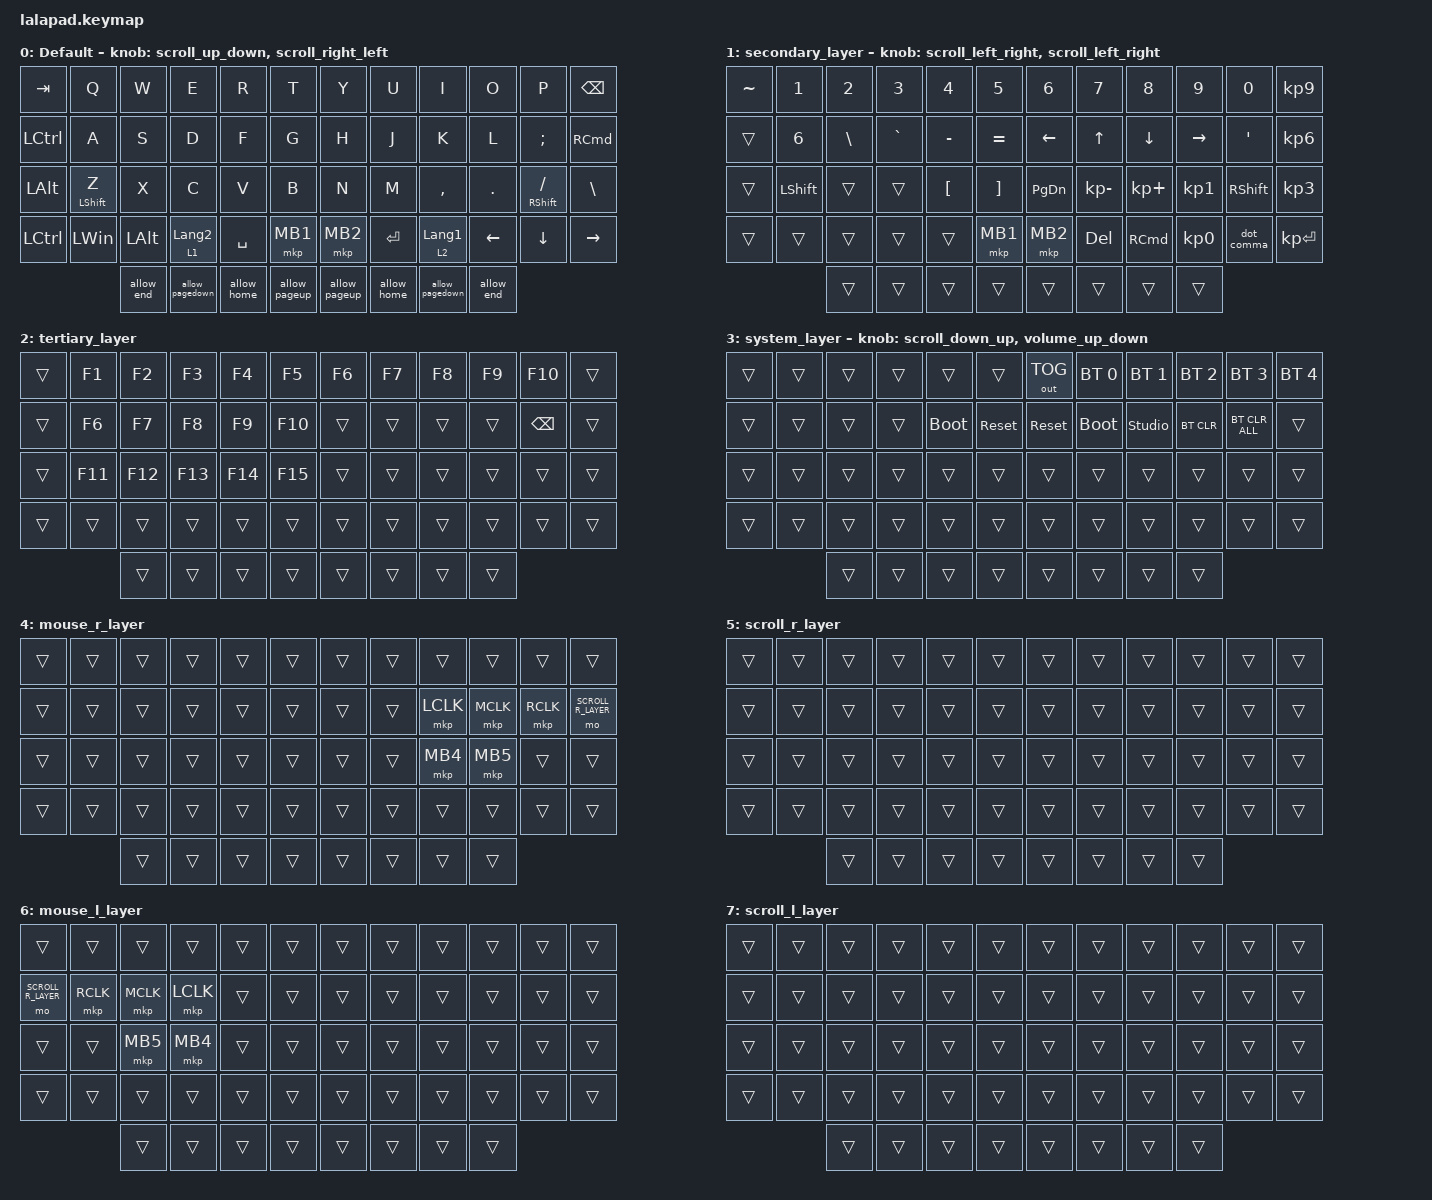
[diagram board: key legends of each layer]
#include <input/processors.dtsi>
#include <behaviors.dtsi>
#include <dt-bindings/zmk/bt.h>
#include <dt-bindings/zmk/keys.h>
#include <dt-bindings/zmk/outputs.h>
#include <dt-bindings/zmk/pointing.h>

#define DEFAULT_LAYER   0
#define SECONDARY_LAYER 1
#define TERTIARY_LAYER  2
#define SYSTEM_LAYER    3
#define MOUSE_R_LAYER   4
#define SCROLL_R_LAYER  5
#define MOUSE_L_LAYER   6
#define SCROLL_L_LAYER  7

// Mouse Scroll Value

#define ZMK_POINTING_DEFAULT_SCRL_VAL 100

// cirque trackpad input&layer control

&glidepoint_listener_R {
    input-processors =
        <&zip_xy_transform (INPUT_TRANSFORM_XY_SWAP | INPUT_TRANSFORM_X_INVERT | INPUT_TRANSFORM_Y_INVERT)>,
        <&zip_xy_scaler 5 2>,
        <&zip_temp_layer MOUSE_R_LAYER 500>;

    lowspeedmode {
        layers = <SECONDARY_LAYER>;
        input-processors =
            <&zip_xy_transform (INPUT_TRANSFORM_XY_SWAP | INPUT_TRANSFORM_X_INVERT | INPUT_TRANSFORM_Y_INVERT)>,
            <&zip_xy_scaler 5 5>,
            <&zip_temp_layer MOUSE_R_LAYER 500>;
    };

    scroller {
        layers = <SCROLL_R_LAYER>;
        input-processors =
            <&zip_xy_to_scroll_mapper>,
            <&zip_scroll_transform (INPUT_TRANSFORM_XY_SWAP | INPUT_TRANSFORM_Y_INVERT)>,
            <&zip_scroll_scaler 1 8>;
    };
};

&glidepoint_listener_L {
    input-processors =
        <&zip_xy_transform (INPUT_TRANSFORM_XY_SWAP | INPUT_TRANSFORM_X_INVERT | INPUT_TRANSFORM_Y_INVERT)>,
        <&zip_xy_scaler 3 2>,
        <&zip_temp_layer MOUSE_L_LAYER 500>;

    lowspeedmode {
        layers = <SECONDARY_LAYER>;
        input-processors =
            <&zip_xy_transform (INPUT_TRANSFORM_XY_SWAP | INPUT_TRANSFORM_X_INVERT | INPUT_TRANSFORM_Y_INVERT)>,
            <&zip_xy_scaler 3 4>,
            <&zip_temp_layer MOUSE_L_LAYER 500>;
    };

    scroller {
        layers = <SCROLL_L_LAYER>;
        input-processors =
            <&zip_xy_to_scroll_mapper>,
            <&zip_scroll_transform (INPUT_TRANSFORM_XY_SWAP | INPUT_TRANSFORM_Y_INVERT)>,
            <&zip_scroll_scaler 1 6>;
    };
};

/ {
    behaviors {
        // Encoder to Mouse Scroll

        scroll_up_down: sensor_scroll_up_down {
            compatible = "zmk,behavior-sensor-rotate";
            #sensor-binding-cells = <0>;
            bindings = <&msc SCRL_UP>, <&msc SCRL_DOWN>;

            tap-ms = <20>;
            label = "SCROLL_UP_DOWN";
        };

        scroll_down_up: sensor_scroll_down_up {
            compatible = "zmk,behavior-sensor-rotate";
            #sensor-binding-cells = <0>;
            bindings = <&msc SCRL_DOWN>, <&msc SCRL_UP>;

            tap-ms = <20>;
            label = "SCROLL_DOWN_UP";
        };

        scroll_left_right: sensor_scroll_left_right {
            compatible = "zmk,behavior-sensor-rotate";
            #sensor-binding-cells = <0>;
            bindings = <&msc SCRL_LEFT>, <&msc SCRL_RIGHT>;

            tap-ms = <20>;
            label = "SCROLL_LEFT_RIGHT";
        };

        scroll_right_left: sensor_scroll_right_left {
            compatible = "zmk,behavior-sensor-rotate";
            #sensor-binding-cells = <0>;
            bindings = <&msc SCRL_RIGHT>, <&msc SCRL_LEFT>;

            tap-ms = <20>;
            label = "SCROLL_RIGHT_LEFT";
        };

        volume_up_down: sensor_volume_up_down {
            compatible = "zmk,behavior-sensor-rotate";
            #sensor-binding-cells = <0>;
            bindings = <&kp C_VOLUME_UP>, <&kp C_VOLUME_DOWN>;

            tap-ms = <20>;
            label = "VOLUME_UP_DOWN";
        };

        dot_comma: dot_comma {
            compatible = "zmk,behavior-mod-morph";
            #binding-cells = <0>;
            bindings = <&kp KP_DOT>, <&kp COMMA>;

            mods = <(MOD_LSFT|MOD_RSFT)>;
            label = "DOT_COMMA";
        };

        pls_minus: pls_minus {
            compatible = "zmk,behavior-mod-morph";
            #binding-cells = <0>;
            bindings = <&kp PLUS>, <&kp MINUS>;

            mods = <(MOD_LSFT|MOD_RSFT)>;
            label = "PLS_MINUS";
        };

        allow_pageup: allow_pageup {
            compatible = "zmk,behavior-mod-morph";
            #binding-cells = <0>;
            bindings = <&kp UP>, <&kp PAGE_UP>;

            mods = <(MOD_LCTL|MOD_RCTL)>;
            label = "ALLOW_PAGEUP";
        };

        allow_pagedown: allow_pagedown {
            compatible = "zmk,behavior-mod-morph";
            #binding-cells = <0>;
            bindings = <&kp DOWN>, <&kp PAGE_DOWN>;

            mods = <(MOD_LCTL|MOD_RCTL)>;
            label = "ALLOW_PAGEDOWN";
        };

        allow_home: allow_home {
            compatible = "zmk,behavior-mod-morph";
            #binding-cells = <0>;
            bindings = <&kp LEFT>, <&kp HOME>;

            mods = <(MOD_LCTL|MOD_RCTL)>;
            label = "ALLOW_HOME";
        };

        allow_end: allow_end {
            compatible = "zmk,behavior-mod-morph";
            #binding-cells = <0>;
            bindings = <&kp RIGHT>, <&kp END>;

            mods = <(MOD_LCTL|MOD_RCTL)>;
            label = "ALLOW_END";
        };

        mt2: mod_tap2 {
            compatible = "zmk,behavior-hold-tap";
            #binding-cells = <2>;
            flavor = "tap-preferred";
            tapping-term-ms = <200>;
            quick-tap-ms = <200>;
            require-prior-idle-ms = <125>;
            bindings = <&kp>, <&kp>;
        };
    };

    keymap {
        compatible = "zmk,keymap";

        DEFAULT_LAYER {
            display-name = "Default";
            sensor-bindings = <&scroll_up_down>, <&scroll_right_left>;

            bindings = <
&kp TAB       &kp Q             &kp W         &kp E             &kp R        &kp T          &kp Y          &kp U        &kp I             &kp O       &kp P                  &kp BACKSPACE
&kp LCTRL     &kp A             &kp S         &kp D             &kp F        &kp G          &kp H          &kp J        &kp K             &kp L       &kp SEMI               &kp RIGHT_COMMAND
&kp LEFT_ALT  &mt LEFT_SHIFT Z  &kp X         &kp C             &kp V        &kp B          &kp N          &kp M        &kp COMMA         &kp PERIOD  &mt RIGHT_SHIFT SLASH  &kp BSLH
&kp LCTRL     &kp LEFT_WIN      &kp LEFT_ALT  &lt 1 LANGUAGE_2  &kp SPACE    &mkp MB1       &mkp MB2       &kp ENTER    &lt 2 LANGUAGE_1  &kp LEFT    &kp DOWN               &kp RIGHT
                                &allow_end    &allow_pagedown   &allow_home  &allow_pageup  &allow_pageup  &allow_home  &allow_pagedown   &allow_end
            >;
        };

        SECONDARY_LAYER {
            display-name = "secondary_layer";
            sensor-bindings = <&scroll_left_right>, <&scroll_left_right>;

            bindings = <
&kp TILDE  &kp NUMBER_1    &kp NUMBER_2   &kp NUMBER_3  &kp NUMBER_4      &kp NUMBER_5       &kp N6         &kp N7        &kp N8             &kp N9           &kp N0            &kp KP_NUMBER_9
&trans     &kp NUMBER_6    &kp BACKSLASH  &kp GRAVE     &kp MINUS         &kp EQUAL          &kp LEFT       &kp UP        &kp DOWN           &kp RIGHT        &kp SINGLE_QUOTE  &kp KP_NUMBER_6
&trans     &kp LEFT_SHIFT  &trans         &trans        &kp LEFT_BRACKET  &kp RIGHT_BRACKET  &kp PAGE_DOWN  &kp KP_MINUS  &kp KP_PLUS        &kp KP_NUMBER_1  &kp RIGHT_SHIFT   &kp KP_NUMBER_3
&trans     &trans          &trans         &trans        &trans            &mkp MB1           &mkp MB2       &kp DELETE    &kp RIGHT_COMMAND  &kp KP_NUMBER_0  &dot_comma        &kp KP_ENTER
                           &trans         &trans        &trans            &trans             &trans         &trans        &trans             &trans
            >;
        };

        TERTIARY_LAYER {
            display-name = "tertiary_layer";
            bindings = <
&trans  &kp F1   &kp F2   &kp F3   &kp F4   &kp F5   &kp F6  &kp F7  &kp F8  &kp F9  &kp F10        &trans
&trans  &kp F6   &kp F7   &kp F8   &kp F9   &kp F10  &trans  &trans  &trans  &trans  &kp BACKSPACE  &trans
&trans  &kp F11  &kp F12  &kp F13  &kp F14  &kp F15  &trans  &trans  &trans  &trans  &trans         &trans
&trans  &trans   &trans   &trans   &trans   &trans   &trans  &trans  &trans  &trans  &trans         &trans
                 &trans   &trans   &trans   &trans   &trans  &trans  &trans  &trans
            >;
        };

        SYSTEM_LAYER {
            display-name = "system_layer";
            sensor-bindings = <&scroll_down_up>, <&volume_up_down>;

            bindings = <
&trans  &trans  &trans  &trans  &trans       &trans      &out OUT_TOG  &bt BT_SEL 0  &bt BT_SEL 1    &bt BT_SEL 2  &bt BT_SEL 3    &bt BT_SEL 4
&trans  &trans  &trans  &trans  &bootloader  &sys_reset  &sys_reset    &bootloader   &studio_unlock  &bt BT_CLR    &bt BT_CLR_ALL  &trans
&trans  &trans  &trans  &trans  &trans       &trans      &trans        &trans        &trans          &trans        &trans          &trans
&trans  &trans  &trans  &trans  &trans       &trans      &trans        &trans        &trans          &trans        &trans          &trans
                &trans  &trans  &trans       &trans      &trans        &trans        &trans          &trans
            >;
        };

        MOUSE_R_LAYER {
            display-name = "mouse_r_layer";
            bindings = <
&trans  &trans  &trans  &trans  &trans  &trans  &trans  &trans  &trans     &trans     &trans     &trans
&trans  &trans  &trans  &trans  &trans  &trans  &trans  &trans  &mkp LCLK  &mkp MCLK  &mkp RCLK  &mo SCROLL_R_LAYER
&trans  &trans  &trans  &trans  &trans  &trans  &trans  &trans  &mkp MB4   &mkp MB5   &trans     &trans
&trans  &trans  &trans  &trans  &trans  &trans  &trans  &trans  &trans     &trans     &trans     &trans
                &trans  &trans  &trans  &trans  &trans  &trans  &trans     &trans
            >;
        };

        SCROLL_R_LAYER {
            display-name = "scroll_r_layer";
            bindings = <
&trans  &trans  &trans  &trans  &trans  &trans  &trans  &trans  &trans  &trans  &trans  &trans
&trans  &trans  &trans  &trans  &trans  &trans  &trans  &trans  &trans  &trans  &trans  &trans
&trans  &trans  &trans  &trans  &trans  &trans  &trans  &trans  &trans  &trans  &trans  &trans
&trans  &trans  &trans  &trans  &trans  &trans  &trans  &trans  &trans  &trans  &trans  &trans
                &trans  &trans  &trans  &trans  &trans  &trans  &trans  &trans
            >;
        };

        MOUSE_L_LAYER {
            display-name = "mouse_l_layer";
            bindings = <
&trans              &trans     &trans     &trans     &trans  &trans  &trans  &trans  &trans  &trans  &trans  &trans
&mo SCROLL_R_LAYER  &mkp RCLK  &mkp MCLK  &mkp LCLK  &trans  &trans  &trans  &trans  &trans  &trans  &trans  &trans
&trans              &trans     &mkp MB5   &mkp MB4   &trans  &trans  &trans  &trans  &trans  &trans  &trans  &trans
&trans              &trans     &trans     &trans     &trans  &trans  &trans  &trans  &trans  &trans  &trans  &trans
                               &trans     &trans     &trans  &trans  &trans  &trans  &trans  &trans
            >;
        };

        SCROLL_L_LAYER {
            display-name = "scroll_l_layer";
            bindings = <
&trans  &trans  &trans  &trans  &trans  &trans  &trans  &trans  &trans  &trans  &trans  &trans
&trans  &trans  &trans  &trans  &trans  &trans  &trans  &trans  &trans  &trans  &trans  &trans
&trans  &trans  &trans  &trans  &trans  &trans  &trans  &trans  &trans  &trans  &trans  &trans
&trans  &trans  &trans  &trans  &trans  &trans  &trans  &trans  &trans  &trans  &trans  &trans
                &trans  &trans  &trans  &trans  &trans  &trans  &trans  &trans
            >;
        };
    };
};
